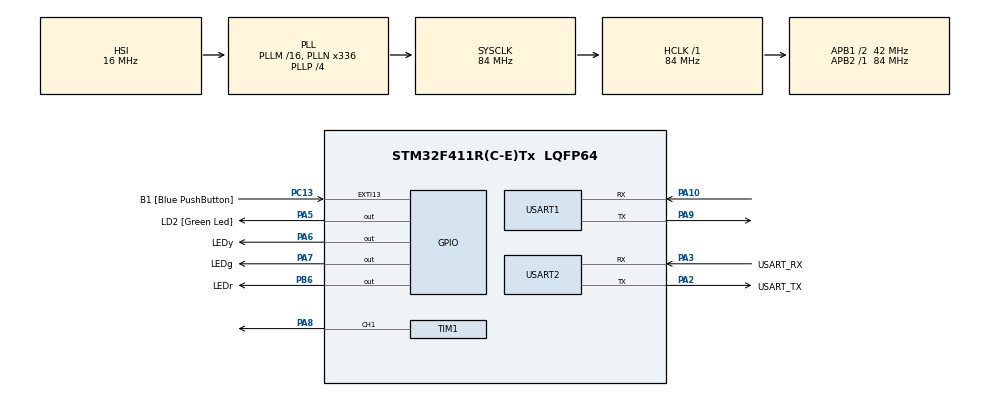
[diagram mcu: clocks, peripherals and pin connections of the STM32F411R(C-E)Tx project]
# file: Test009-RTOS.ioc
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FREERTOS.Tasks01=Task01,0,128,StartTask01,Default,NULL,Dynamic,NULL,NULL;Task02,0,128,StartTask02,Default,NULL,Dynamic,NULL,NULL
FREERTOS.configUSE_NEWLIB_REENTRANT=1
Mcu.Family=STM32F4
Mcu.Name=STM32F411R(C-E)Tx
Mcu.Package=LQFP64
NVIC.EXTI15_10_IRQn=true\:5\:0\:false\:false\:true\:true\:true\:true\:true
NVIC.PriorityGroup=NVIC_PRIORITYGROUP_4
NVIC.TIM1_TRG_COM_TIM11_IRQn=true\:5\:0\:false\:false\:true\:false\:false\:true\:true
NVIC.TimeBase=TIM1_TRG_COM_TIM11_IRQn
NVIC.TimeBaseIP=TIM11
PA10.Mode=Asynchronous
PA10.Signal=USART1_RX
PA13.GPIO_Label=TMS
PA13.Mode=Serial_Wire
PA13.Signal=SYS_JTMS-SWDIO
PA14.GPIO_Label=TCK
PA14.Mode=Serial_Wire
PA14.Signal=SYS_JTCK-SWCLK
PA2.GPIO_Label=USART_TX
PA2.Mode=Asynchronous
PA2.Signal=USART2_TX
PA3.GPIO_Label=USART_RX
PA3.Mode=Asynchronous
PA3.Signal=USART2_RX
PA5.GPIO_Label=LD2 [Green Led]
PA5.Signal=GPIO_Output
PA6.GPIO_Label=LEDy
PA6.Signal=GPIO_Output
PA7.GPIO_Label=LEDg
PA7.Signal=GPIO_Output
PA8.Signal=S_TIM1_CH1
PA9.Mode=Asynchronous
PA9.Signal=USART1_TX
PB6.GPIO_Label=LEDr
PB6.Signal=GPIO_Output
PC13-ANTI_TAMP.GPIO_Label=B1 [Blue PushButton]
PC13-ANTI_TAMP.GPIO_ModeDefaultEXTI=GPIO_MODE_IT_FALLING
PC13-ANTI_TAMP.Signal=GPXTI13
PC14-OSC32_IN.Mode=LSE-External-Oscillator
PC14-OSC32_IN.Signal=RCC_OSC32_IN
PC15-OSC32_OUT.Mode=LSE-External-Oscillator
PC15-OSC32_OUT.Signal=RCC_OSC32_OUT
PH0\ -\ OSC_IN.Mode=HSE-External-Clock-Source
PH0\ -\ OSC_IN.Signal=RCC_OSC_IN
PH1\ -\ OSC_OUT.Mode=HSE-External-Clock-Source
PH1\ -\ OSC_OUT.Signal=RCC_OSC_OUT
ProjectManager.HeapSize=0x200
ProjectManager.StackSize=0x400
ProjectManager.TargetToolchain=STM32CubeIDE
RCC.48MHZClocksFreq_Value=84000000
RCC.AHBFreq_Value=84000000
RCC.APB1CLKDivider=RCC_HCLK_DIV2
RCC.APB1Freq_Value=42000000
RCC.APB1TimFreq_Value=84000000
RCC.APB2Freq_Value=84000000
RCC.APB2TimFreq_Value=84000000
RCC.CortexFreq_Value=84000000
RCC.FLatency-AdvancedSettings=FLASH_LATENCY_2
RCC.HCLKFreq_Value=84000000
RCC.HSE_VALUE=8000000
RCC.HSI_VALUE=16000000
RCC.PLLN=336
RCC.PLLP=RCC_PLLP_DIV4
RCC.SYSCLKFreq_VALUE=84000000
RCC.SYSCLKSource=RCC_SYSCLKSOURCE_PLLCLK
RCC.VCOOutputFreq_Value=336000000
SH.S_TIM1_CH1.0=TIM1_CH1,PWM Generation1 CH1
TIM1.Channel-PWM\ Generation1\ CH1=TIM_CHANNEL_1
TIM1.Period=1000-1
TIM1.Prescaler=1680-1
USART1.VirtualMode=VM_ASYNC
USART2.VirtualMode=VM_ASYNC
VP_FREERTOS_VS_CMSIS_V1.Mode=CMSIS_V1
VP_SYS_VS_tim11.Mode=TIM11
VP_TIM1_VS_ClockSourceINT.Mode=Internal
board=NUCLEO-F411RE

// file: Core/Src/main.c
/* USER CODE BEGIN Header */
/**
  ******************************************************************************
  * @file           : main.c
  * @brief          : Main program body
  ******************************************************************************
  * @attention
  *
  * Copyright (c) 2024 STMicroelectronics.
  * All rights reserved.
  *
  * This software is licensed under terms that can be found in the LICENSE file
  * in the root directory of this software component.
  * If no LICENSE file comes with this software, it is provided AS-IS.
  *
  ******************************************************************************
  */
/* USER CODE END Header */
#include "main.h"
#include "cmsis_os.h"

TIM_HandleTypeDef htim1;

UART_HandleTypeDef huart1;
UART_HandleTypeDef huart2;

osThreadId Task01Handle;
osThreadId Task02Handle;

void SystemClock_Config(void);
static void MX_GPIO_Init(void);
static void MX_USART2_UART_Init(void);
static void MX_TIM1_Init(void);
static void MX_USART1_UART_Init(void);
void StartTask01(void const * argument);
void StartTask02(void const * argument);

/* USER CODE BEGIN 0 */
int ledNo = 0;
void HAL_GPIO_EXTI_Callback(uint16_t GPIO_Pin)
{
	if(GPIO_Pin == B1_Pin)
	{
		if(++ledNo > 2) ledNo = 0;
	}
}

/* USER CODE END 0 */

int main(void)
{

  /* MCU Configuration--------------------------------------------------------*/

  /* Reset of all peripherals, Initializes the Flash interface and the Systick. */
  HAL_Init();

  /* Configure the system clock */
  SystemClock_Config();

  /* Initialize all configured peripherals */
  MX_GPIO_Init();
  MX_USART2_UART_Init();
  MX_TIM1_Init();
  MX_USART1_UART_Init();

  /* Create the thread(s) */
  /* definition and creation of Task01 */
  osThreadDef(Task01, StartTask01, osPriorityNormal, 0, 128);
  Task01Handle = osThreadCreate(osThread(Task01), NULL);

  /* definition and creation of Task02 */
  osThreadDef(Task02, StartTask02, osPriorityNormal, 0, 128);
  Task02Handle = osThreadCreate(osThread(Task02), NULL);

  /* USER CODE BEGIN RTOS_THREADS */
  /* add threads, ... */
  ProgramStart("RTOS Test....");

  HAL_TIM_PWM_Start(&htim1, TIM_CHANNEL_1);
  /* USER CODE END RTOS_THREADS */

  /* Start scheduler */
  osKernelStart();

  /* We should never get here as control is now taken by the scheduler */
  /* Infinite loop */
  /* USER CODE BEGIN WHILE */
  int cnt = 0;
  while (1)
  {
	  printf("Task test....%d\r\n", cnt++);
	  HAL_Delay(1000);
    /* USER CODE END WHILE */

  }
}

void SystemClock_Config(void)
{
  RCC_OscInitTypeDef RCC_OscInitStruct = {0};
  RCC_ClkInitTypeDef RCC_ClkInitStruct = {0};

  /** Configure the main internal regulator output voltage
  */
  __HAL_RCC_PWR_CLK_ENABLE();
  __HAL_PWR_VOLTAGESCALING_CONFIG(PWR_REGULATOR_VOLTAGE_SCALE1);

  /** Initializes the RCC Oscillators according to the specified parameters
  * in the RCC_OscInitTypeDef structure.
  */
  RCC_OscInitStruct.OscillatorType = RCC_OSCILLATORTYPE_HSI;
  RCC_OscInitStruct.HSIState = RCC_HSI_ON;
  RCC_OscInitStruct.HSICalibrationValue = RCC_HSICALIBRATION_DEFAULT;
  RCC_OscInitStruct.PLL.PLLState = RCC_PLL_ON;
  RCC_OscInitStruct.PLL.PLLSource = RCC_PLLSOURCE_HSI;
  RCC_OscInitStruct.PLL.PLLM = 16;
  RCC_OscInitStruct.PLL.PLLN = 336;
  RCC_OscInitStruct.PLL.PLLP = RCC_PLLP_DIV4;
  RCC_OscInitStruct.PLL.PLLQ = 4;
  if (HAL_RCC_OscConfig(&RCC_OscInitStruct) != HAL_OK)
  {
    Error_Handler();
  }

  /** Initializes the CPU, AHB and APB buses clocks
  */
  RCC_ClkInitStruct.ClockType = RCC_CLOCKTYPE_HCLK|RCC_CLOCKTYPE_SYSCLK
                              |RCC_CLOCKTYPE_PCLK1|RCC_CLOCKTYPE_PCLK2;
  RCC_ClkInitStruct.SYSCLKSource = RCC_SYSCLKSOURCE_PLLCLK;
  RCC_ClkInitStruct.AHBCLKDivider = RCC_SYSCLK_DIV1;
  RCC_ClkInitStruct.APB1CLKDivider = RCC_HCLK_DIV2;
  RCC_ClkInitStruct.APB2CLKDivider = RCC_HCLK_DIV1;

  if (HAL_RCC_ClockConfig(&RCC_ClkInitStruct, FLASH_LATENCY_2) != HAL_OK)
  {
    Error_Handler();
  }
}

static void MX_TIM1_Init(void)
{

  TIM_ClockConfigTypeDef sClockSourceConfig = {0};
  TIM_MasterConfigTypeDef sMasterConfig = {0};
  TIM_OC_InitTypeDef sConfigOC = {0};
  TIM_BreakDeadTimeConfigTypeDef sBreakDeadTimeConfig = {0};

  htim1.Instance = TIM1;
  htim1.Init.Prescaler = 1680-1;
  htim1.Init.CounterMode = TIM_COUNTERMODE_UP;
  htim1.Init.Period = 1000-1;
  htim1.Init.ClockDivision = TIM_CLOCKDIVISION_DIV1;
  htim1.Init.RepetitionCounter = 0;
  htim1.Init.AutoReloadPreload = TIM_AUTORELOAD_PRELOAD_DISABLE;
  if (HAL_TIM_Base_Init(&htim1) != HAL_OK)
  {
    Error_Handler();
  }
  sClockSourceConfig.ClockSource = TIM_CLOCKSOURCE_INTERNAL;
  if (HAL_TIM_ConfigClockSource(&htim1, &sClockSourceConfig) != HAL_OK)
  {
    Error_Handler();
  }
  if (HAL_TIM_PWM_Init(&htim1) != HAL_OK)
  {
    Error_Handler();
  }
  sMasterConfig.MasterOutputTrigger = TIM_TRGO_RESET;
  sMasterConfig.MasterSlaveMode = TIM_MASTERSLAVEMODE_DISABLE;
  if (HAL_TIMEx_MasterConfigSynchronization(&htim1, &sMasterConfig) != HAL_OK)
  {
    Error_Handler();
  }
  sConfigOC.OCMode = TIM_OCMODE_PWM1;
  sConfigOC.Pulse = 0;
  sConfigOC.OCPolarity = TIM_OCPOLARITY_HIGH;
  sConfigOC.OCNPolarity = TIM_OCNPOLARITY_HIGH;
  sConfigOC.OCFastMode = TIM_OCFAST_DISABLE;
  sConfigOC.OCIdleState = TIM_OCIDLESTATE_RESET;
  sConfigOC.OCNIdleState = TIM_OCNIDLESTATE_RESET;
  if (HAL_TIM_PWM_ConfigChannel(&htim1, &sConfigOC, TIM_CHANNEL_1) != HAL_OK)
  {
    Error_Handler();
  }
  sBreakDeadTimeConfig.OffStateRunMode = TIM_OSSR_DISABLE;
  sBreakDeadTimeConfig.OffStateIDLEMode = TIM_OSSI_DISABLE;
  sBreakDeadTimeConfig.LockLevel = TIM_LOCKLEVEL_OFF;
  sBreakDeadTimeConfig.DeadTime = 0;
  sBreakDeadTimeConfig.BreakState = TIM_BREAK_DISABLE;
  sBreakDeadTimeConfig.BreakPolarity = TIM_BREAKPOLARITY_HIGH;
  sBreakDeadTimeConfig.AutomaticOutput = TIM_AUTOMATICOUTPUT_DISABLE;
  if (HAL_TIMEx_ConfigBreakDeadTime(&htim1, &sBreakDeadTimeConfig) != HAL_OK)
  {
    Error_Handler();
  }
  HAL_TIM_MspPostInit(&htim1);

}

static void MX_USART1_UART_Init(void)
{

  huart1.Instance = USART1;
  huart1.Init.BaudRate = 115200;
  huart1.Init.WordLength = UART_WORDLENGTH_8B;
  huart1.Init.StopBits = UART_STOPBITS_1;
  huart1.Init.Parity = UART_PARITY_NONE;
  huart1.Init.Mode = UART_MODE_TX_RX;
  huart1.Init.HwFlowCtl = UART_HWCONTROL_NONE;
  huart1.Init.OverSampling = UART_OVERSAMPLING_16;
  if (HAL_UART_Init(&huart1) != HAL_OK)
  {
    Error_Handler();
  }

}

static void MX_USART2_UART_Init(void)
{

  huart2.Instance = USART2;
  huart2.Init.BaudRate = 115200;
  huart2.Init.WordLength = UART_WORDLENGTH_8B;
  huart2.Init.StopBits = UART_STOPBITS_1;
  huart2.Init.Parity = UART_PARITY_NONE;
  huart2.Init.Mode = UART_MODE_TX_RX;
  huart2.Init.HwFlowCtl = UART_HWCONTROL_NONE;
  huart2.Init.OverSampling = UART_OVERSAMPLING_16;
  if (HAL_UART_Init(&huart2) != HAL_OK)
  {
    Error_Handler();
  }

}

static void MX_GPIO_Init(void)
{
  GPIO_InitTypeDef GPIO_InitStruct = {0};

  /* GPIO Ports Clock Enable */
  __HAL_RCC_GPIOC_CLK_ENABLE();
  __HAL_RCC_GPIOH_CLK_ENABLE();
  __HAL_RCC_GPIOA_CLK_ENABLE();
  __HAL_RCC_GPIOB_CLK_ENABLE();

  /*Configure GPIO pin Output Level */
  HAL_GPIO_WritePin(GPIOA, LD2_Pin|LEDy_Pin|LEDg_Pin, GPIO_PIN_RESET);

  /*Configure GPIO pin Output Level */
  HAL_GPIO_WritePin(LEDr_GPIO_Port, LEDr_Pin, GPIO_PIN_RESET);

  /*Configure GPIO pin : B1_Pin */
  GPIO_InitStruct.Pin = B1_Pin;
  GPIO_InitStruct.Mode = GPIO_MODE_IT_FALLING;
  GPIO_InitStruct.Pull = GPIO_NOPULL;
  HAL_GPIO_Init(B1_GPIO_Port, &GPIO_InitStruct);

  /*Configure GPIO pins : LD2_Pin LEDy_Pin LEDg_Pin */
  GPIO_InitStruct.Pin = LD2_Pin|LEDy_Pin|LEDg_Pin;
  GPIO_InitStruct.Mode = GPIO_MODE_OUTPUT_PP;
  GPIO_InitStruct.Pull = GPIO_NOPULL;
  GPIO_InitStruct.Speed = GPIO_SPEED_FREQ_LOW;
  HAL_GPIO_Init(GPIOA, &GPIO_InitStruct);

  /*Configure GPIO pin : LEDr_Pin */
  GPIO_InitStruct.Pin = LEDr_Pin;
  GPIO_InitStruct.Mode = GPIO_MODE_OUTPUT_PP;
  GPIO_InitStruct.Pull = GPIO_NOPULL;
  GPIO_InitStruct.Speed = GPIO_SPEED_FREQ_LOW;
  HAL_GPIO_Init(LEDr_GPIO_Port, &GPIO_InitStruct);

  /* EXTI interrupt init*/
  HAL_NVIC_SetPriority(EXTI15_10_IRQn, 5, 0);
  HAL_NVIC_EnableIRQ(EXTI15_10_IRQn);

}

/* USER CODE BEGIN Header_StartTask01 */
/**
  * @brief  Function implementing the Task01 thread.
  * @param  argument: Not used
  * @retval None
  */
int ccr[] = { 25, 65, 120 };
/* USER CODE END Header_StartTask01 */
void StartTask01(void const * argument)
{
  /* USER CODE BEGIN 5 */
  /* Infinite loop */
  int cnt = 0;
  for(;;)  // == while(1)
  {
	  htim1.Instance->CCR1 = ccr[ledNo];
	  printf("Task01 test....%d\r\n", cnt++);
	  ;
   osDelay(1000);  // Task switching
  }
  /* USER CODE END 5 */
}

/* USER CODE BEGIN Header_StartTask02 */
/**
* @brief Function implementing the Task02 thread.
* @param argument: Not used
* @retval None
*/
GPIO_TypeDef *ledPort[] = { LEDr_GPIO_Port, LEDg_GPIO_Port, LEDy_GPIO_Port };
uint16_t ledPin[] = { LEDr_Pin, LEDg_Pin, LEDy_Pin };

/* USER CODE END Header_StartTask02 */
void StartTask02(void const * argument)
{
  /* USER CODE BEGIN StartTask02 */
  /* Infinite loop */
  int cnt = 0;
  for(;;)
  {
	  HAL_GPIO_WritePin(ledPort[ledNo], ledPin[ledNo], 1);
	  HAL_Delay(200);
	  HAL_GPIO_WritePin(ledPort[ledNo], ledPin[ledNo], 0);
	  HAL_Delay(200);
	  //printf("Task02 test.........%d\r\n", cnt++);
	  osDelay(500);
  }
  /* USER CODE END StartTask02 */
}

void HAL_TIM_PeriodElapsedCallback(TIM_HandleTypeDef *htim)
{
  if (htim->Instance == TIM11) {
    HAL_IncTick();
  }
}

void Error_Handler(void)
{
  __disable_irq();
  while (1)
  {
  }
}
